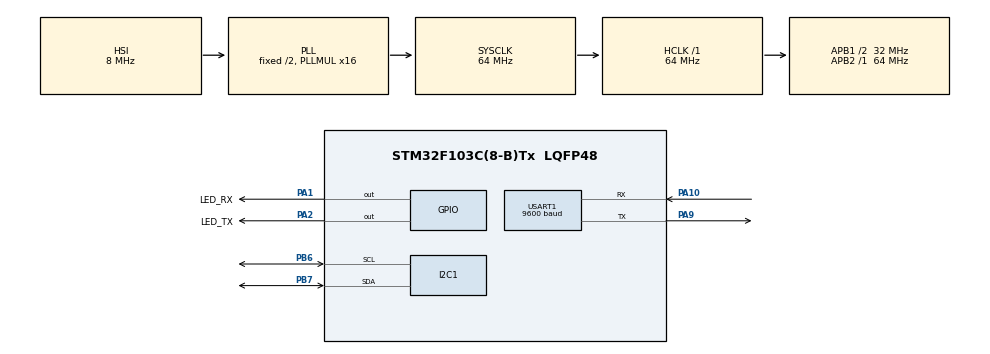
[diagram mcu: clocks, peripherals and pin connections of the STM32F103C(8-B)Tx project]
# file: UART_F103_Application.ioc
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I2C1.I2C_Mode=I2C_Fast
Mcu.Family=STM32F1
Mcu.Name=STM32F103C(8-B)Tx
Mcu.Package=LQFP48
NVIC.PriorityGroup=NVIC_PRIORITYGROUP_4
NVIC.USART1_IRQn=true\:0\:0\:false\:false\:true\:true\:true
PA1.GPIO_Label=LED_RX
PA1.Signal=GPIO_Output
PA10.Mode=Asynchronous
PA10.Signal=USART1_RX
PA13.Mode=Serial_Wire
PA13.Signal=SYS_JTMS-SWDIO
PA14.Mode=Serial_Wire
PA14.Signal=SYS_JTCK-SWCLK
PA2.GPIO_Label=LED_TX
PA2.Signal=GPIO_Output
PA9.Mode=Asynchronous
PA9.Signal=USART1_TX
PB6.Mode=I2C
PB6.Signal=I2C1_SCL
PB7.Mode=I2C
PB7.Signal=I2C1_SDA
PD0-OSC_IN.Mode=HSE-External-Oscillator
PD0-OSC_IN.Signal=RCC_OSC_IN
PD1-OSC_OUT.Mode=HSE-External-Oscillator
PD1-OSC_OUT.Signal=RCC_OSC_OUT
ProjectManager.HeapSize=0x200
ProjectManager.StackSize=0x400
ProjectManager.TargetToolchain=SW4STM32
RCC.AHBFreq_Value=64000000
RCC.APB1CLKDivider=RCC_HCLK_DIV2
RCC.APB1Freq_Value=32000000
RCC.APB1TimFreq_Value=64000000
RCC.APB2Freq_Value=64000000
RCC.APB2TimFreq_Value=64000000
RCC.HCLKFreq_Value=64000000
RCC.PLLMUL=RCC_PLL_MUL16
RCC.SYSCLKFreq_VALUE=64000000
RCC.SYSCLKSource=RCC_SYSCLKSOURCE_PLLCLK
RCC.USBFreq_Value=64000000
USART1.BaudRate=9600
USART1.VirtualMode=VM_ASYNC
board=custom

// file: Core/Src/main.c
/* USER CODE BEGIN Header */
/**
  ******************************************************************************
  * @file           : main.c
  * @brief          : Main program body
  ******************************************************************************
  * @attention
  *
  * <h2><center>&copy; Copyright (c) 2020 STMicroelectronics.
  * All rights reserved.</center></h2>
  *
  * This software component is licensed by ST under BSD 3-Clause license,
  * the "License"; You may not use this file except in compliance with the
  * License. You may obtain a copy of the License at:
  *                        opensource.org/licenses/BSD-3-Clause
  *
  ******************************************************************************
  * Copyright (C) 2020 Eduardo Tschaen Filho <tschaenfilho@gmail.com>
  * Copyright (C) 2020 Carolina Mayumi M. Guimarães <carolmmg@hotmail.com>
  * Version 1.0
  *
  * This program is free software; you can redistribute it and/or modify
  * it under the terms of the GNU General Public License as published by
  * the Free Software Foundation; either version 3 of the License, or
  * (at your option) any later version.
  *
  * This program is distributed in the hope that it will be useful,
  * but WITHOUT ANY WARRANTY; without even the implied warranty of
  * MERCHANTABILITY or FITNESS FOR A PARTICULAR PURPOSE.  See the
  * GNU General Public License for more details.
  *
  * You should have received a copy of the GNU General Public License along
  * with this program; If not, see <https://www.gnu.org/licenses/>
  *
  * Created on: 28-Oct-2020
  * Institution: UFMG
  *
  * This application is an example of how to use of UART in interruption mode
  * with STM32F103C8T6 microcontroller. The hardware required in this application
  * are: an USB to UART converter (TTL), to establish communication between the
  * MCU and the computer, 2 LEDs to indicate if there was success in sending and
  * receiving the data, and an OLED display (SSD1306) to show the received data.
  * The software used to send data to the microcontroller is Realterm. In this
  * application, the STM32 receives only one character at a time. To send a
  * character in Realterm, just click in the screen and type the desired
  * character. To send '\r', click ENTER.
  *
  * Pinout:
  * A1  - LED_RX
  * A2  - LED_TX
  * A9  - TTL RX pin
  * A10 - TTL TX pin
  * B6  - OLED SCK pin
  * B7  - OLED SDA pin
  *
  */
/* USER CODE END Header */
#include "main.h"

/* USER CODE BEGIN Includes */
#include <string.h>
#include <stdio.h>
#include "ssd1306.h"
#include "fonts.h"
/* USER CODE END Includes */

I2C_HandleTypeDef hi2c1;

UART_HandleTypeDef huart1;

/* USER CODE BEGIN PV */
uint8_t UART_RX_FLAG = 0;
uint8_t UART_TX_FLAG = 0;

uint8_t rxChar[1];
char rxMessage[11], txMessage[31];
const char initMessage[] = "\r\nInitialized";
/* USER CODE END PV */

void SystemClock_Config(void);
static void MX_GPIO_Init(void);
static void MX_USART1_UART_Init(void);
static void MX_I2C1_Init(void);

int main(void)
{

  /* MCU Configuration--------------------------------------------------------*/

  /* Reset of all peripherals, Initializes the Flash interface and the Systick. */
  HAL_Init();

  /* Configure the system clock */
  SystemClock_Config();

  /* Initialize all configured peripherals */
  MX_GPIO_Init();
  MX_USART1_UART_Init();
  MX_I2C1_Init();
  /* USER CODE BEGIN 2 */

  // Blink the 2 LEDS to indicate the program started
  HAL_GPIO_WritePin(GPIOA, LED_RX_Pin | LED_TX_Pin, GPIO_PIN_SET);
  HAL_Delay(1000);
  HAL_GPIO_WritePin(GPIOA, LED_RX_Pin | LED_TX_Pin, GPIO_PIN_RESET);

  // Send the string initMessage
  HAL_UART_Transmit_IT(&huart1, (uint8_t*)initMessage, sizeof(initMessage));

  // Initialize and print UART initialized in the OLED display
  SSD1306_Init();
  SSD1306_GotoXY(0, 0);
  SSD1306_Puts("UART", &Font_11x18, 1);
  SSD1306_GotoXY(0, 30);
  SSD1306_Puts("Initialized", &Font_11x18, 1);
  SSD1306_UpdateScreen();
  /* USER CODE END 2 */

  /* Infinite loop */
  /* USER CODE BEGIN WHILE */
  while (1)
  {
	  // Wait for a character to be received
	  while(HAL_UART_Receive_IT(&huart1, rxChar, sizeof(rxChar)) != HAL_OK);

	  if(UART_RX_FLAG){ // Character received without errors
		  UART_RX_FLAG = 0;

		  // If receives '\r', displays the string rxMessage in the OLED and sends it via UART
		  if(rxChar[0] == '\r'){
			  sprintf(txMessage, "\r\nMessage received: %s", rxMessage);
			  HAL_UART_Transmit_IT(&huart1, (uint8_t*)txMessage, strlen(txMessage));
			  SSD1306_Clear();
			  SSD1306_GotoXY(0, 0);
			  SSD1306_Puts("Received!", &Font_11x18, 1);
			  SSD1306_GotoXY(0, 30);
			  SSD1306_Puts(rxMessage, &Font_11x18, 1);
			  SSD1306_UpdateScreen();
			  rxMessage[0] = '\0'; // clear the string
		  }
		  // Concatenate the character received with the string rxMessage and display it in the OLED
		  else{
			  strcat(rxMessage, (char*)rxChar);
			  SSD1306_Clear();
			  SSD1306_GotoXY(0, 0);
			  SSD1306_Puts("Receiving...", &Font_11x18, 1);
			  SSD1306_GotoXY(0, 30);
			  SSD1306_Puts(rxMessage, &Font_11x18, 1);
			  SSD1306_UpdateScreen();
		  }
	  }
    /* USER CODE END WHILE */

  }
}

void SystemClock_Config(void)
{
  RCC_OscInitTypeDef RCC_OscInitStruct = {0};
  RCC_ClkInitTypeDef RCC_ClkInitStruct = {0};

  /** Initializes the RCC Oscillators according to the specified parameters
  * in the RCC_OscInitTypeDef structure.
  */
  RCC_OscInitStruct.OscillatorType = RCC_OSCILLATORTYPE_HSI;
  RCC_OscInitStruct.HSIState = RCC_HSI_ON;
  RCC_OscInitStruct.HSICalibrationValue = RCC_HSICALIBRATION_DEFAULT;
  RCC_OscInitStruct.PLL.PLLState = RCC_PLL_ON;
  RCC_OscInitStruct.PLL.PLLSource = RCC_PLLSOURCE_HSI_DIV2;
  RCC_OscInitStruct.PLL.PLLMUL = RCC_PLL_MUL16;
  if (HAL_RCC_OscConfig(&RCC_OscInitStruct) != HAL_OK)
  {
    Error_Handler();
  }
  /** Initializes the CPU, AHB and APB buses clocks
  */
  RCC_ClkInitStruct.ClockType = RCC_CLOCKTYPE_HCLK|RCC_CLOCKTYPE_SYSCLK
                              |RCC_CLOCKTYPE_PCLK1|RCC_CLOCKTYPE_PCLK2;
  RCC_ClkInitStruct.SYSCLKSource = RCC_SYSCLKSOURCE_PLLCLK;
  RCC_ClkInitStruct.AHBCLKDivider = RCC_SYSCLK_DIV1;
  RCC_ClkInitStruct.APB1CLKDivider = RCC_HCLK_DIV2;
  RCC_ClkInitStruct.APB2CLKDivider = RCC_HCLK_DIV1;

  if (HAL_RCC_ClockConfig(&RCC_ClkInitStruct, FLASH_LATENCY_2) != HAL_OK)
  {
    Error_Handler();
  }
}

static void MX_I2C1_Init(void)
{

  hi2c1.Instance = I2C1;
  hi2c1.Init.ClockSpeed = 400000;
  hi2c1.Init.DutyCycle = I2C_DUTYCYCLE_2;
  hi2c1.Init.OwnAddress1 = 0;
  hi2c1.Init.AddressingMode = I2C_ADDRESSINGMODE_7BIT;
  hi2c1.Init.DualAddressMode = I2C_DUALADDRESS_DISABLE;
  hi2c1.Init.OwnAddress2 = 0;
  hi2c1.Init.GeneralCallMode = I2C_GENERALCALL_DISABLE;
  hi2c1.Init.NoStretchMode = I2C_NOSTRETCH_DISABLE;
  if (HAL_I2C_Init(&hi2c1) != HAL_OK)
  {
    Error_Handler();
  }

}

static void MX_USART1_UART_Init(void)
{

  huart1.Instance = USART1;
  huart1.Init.BaudRate = 9600;
  huart1.Init.WordLength = UART_WORDLENGTH_8B;
  huart1.Init.StopBits = UART_STOPBITS_1;
  huart1.Init.Parity = UART_PARITY_NONE;
  huart1.Init.Mode = UART_MODE_TX_RX;
  huart1.Init.HwFlowCtl = UART_HWCONTROL_NONE;
  huart1.Init.OverSampling = UART_OVERSAMPLING_16;
  if (HAL_UART_Init(&huart1) != HAL_OK)
  {
    Error_Handler();
  }

}

static void MX_GPIO_Init(void)
{
  GPIO_InitTypeDef GPIO_InitStruct = {0};

  /* GPIO Ports Clock Enable */
  __HAL_RCC_GPIOD_CLK_ENABLE();
  __HAL_RCC_GPIOA_CLK_ENABLE();
  __HAL_RCC_GPIOB_CLK_ENABLE();

  /*Configure GPIO pin Output Level */
  HAL_GPIO_WritePin(GPIOA, LED_RX_Pin|LED_TX_Pin, GPIO_PIN_RESET);

  /*Configure GPIO pins : LED_RX_Pin LED_TX_Pin */
  GPIO_InitStruct.Pin = LED_RX_Pin|LED_TX_Pin;
  GPIO_InitStruct.Mode = GPIO_MODE_OUTPUT_PP;
  GPIO_InitStruct.Pull = GPIO_NOPULL;
  GPIO_InitStruct.Speed = GPIO_SPEED_FREQ_LOW;
  HAL_GPIO_Init(GPIOA, &GPIO_InitStruct);

}

/* USER CODE BEGIN 4 */

void HAL_UART_RxCpltCallback(UART_HandleTypeDef *huart){
	HAL_GPIO_TogglePin(GPIOA, LED_RX_Pin); // LED blinks to indicate the message was transmitted successfully
	UART_RX_FLAG = 1;
}

void HAL_UART_TxCpltCallback(UART_HandleTypeDef *huart){
	HAL_GPIO_TogglePin(GPIOA, LED_TX_Pin); // LED blinks to indicate the message was transmitted successfully
}
/* USER CODE END 4 */

void Error_Handler(void)
{
}

/************************ (C) COPYRIGHT STMicroelectronics *****END OF FILE****/
